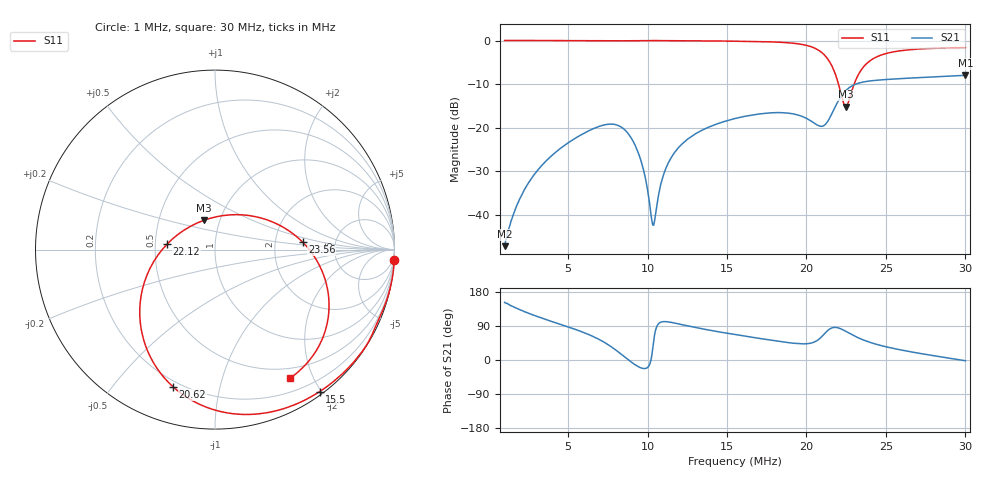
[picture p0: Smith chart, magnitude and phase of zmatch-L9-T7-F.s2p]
# HZ S RI R 50
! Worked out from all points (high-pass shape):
!   505 points, 1 MHz to 30 MHz, reference 50 ohm
!   highest |S21| = -8.00 dB at 30 MHz (marker M1); lowest = -47.1 dB at 1 MHz (marker M2)
!   |S21| within 3 dB of the highest: 22.63 MHz to end of sweep
!   lowest |S11| = -15.2 dB at 22.46 MHz (marker M3), VSWR 1.42, Z = 41.9 + j14 ohm
!   |S11| at or under -10 dB: 22.01 MHz to 23 MHz (985.9 kHz wide, 4.38 % of centre)
!   S12 and S22 are empty: the file has one direction only
!   S11 on the Smith chart (normalised r, x): 1 MHz: -1, -36; 15.5 MHz: 0.04, -1.98; 20.62 MHz: 0.17, -0.73; 22.12 MHz: 0.58, +0.04; 23.56 MHz: 2.88, +0.32; 30 MHz: 0.37, -1.69
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1000000  0.9995 -0.0562  -0.00388 0.00206  0 0  0 0
1805560  0.9961 -0.0995  -0.00954 0.00937  0 0  0 0
2726200  0.9894 -0.1487  -0.0133 0.0233  0 0  0 0
5833360  0.9457 -0.3109  0.0217 0.0805  0 0  0 0
7444480  0.9119 -0.3885  0.0808 0.0736  0 0  0 0
8480200  0.8909 -0.4368  0.0959 0.0179  0 0  0 0
9573460  0.8656 -0.4943  0.0397 -0.015  0 0  0 0
1.032148e7  0.8422 -0.5352  0.00671 0.00377  0 0  0 0
1.066672e7  0.8302 -0.5536  -0.00129 0.0161  0 0  0 0
1.118458e7  0.8106 -0.5806  -0.00687 0.0348  0 0  0 0
1.204768e7  0.775 -0.6244  -0.00478 0.0618  0 0  0 0
1.550008e7  0.5835 -0.7908  0.0495 0.1175  0 0  0 0
1.837708e7  0.2883 -0.909  0.0986 0.1118  0 0  0 0
2.033344e7  -0.1454 -0.8303  0.0832 0.0835  0 0  0 0
2.062114e7  -0.2331 -0.765  0.0698 0.0837  0 0  0 0
2.148424e7  -0.4191 -0.3685  0.0175 0.1309  0 0  0 0
2.211718e7  -0.2672 0.0301  0.0268 0.2182  0 0  0 0
2.246242e7  -0.0639 0.1625  0.0645 0.2569  0 0  0 0
2.355568e7  0.4881 0.0419  0.1999 0.2676  0 0  0 0
2.51668e7  0.6344 -0.3435  0.2997 0.1971  0 0  0 0
2.712316e7  0.5595 -0.5706  0.3591 0.1131  0 0  0 0
3.000016e7  0.4206 -0.715  0.398 -0.0133  0 0  0 0
